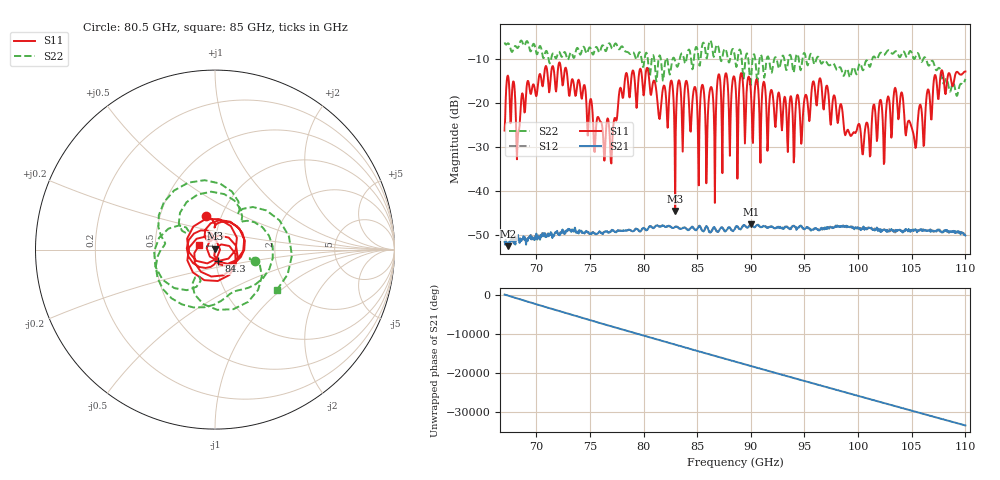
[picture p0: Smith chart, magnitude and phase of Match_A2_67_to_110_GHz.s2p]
#  HZ  S  MA  R  50.00
! Rohde & Schwarz ZVA67 4Ports - Version 4.11 - 1305.7002k04 SN: 101051
! Date: 2023-09-13 16:04:21
! Measurements: S11 S21 S12 S22
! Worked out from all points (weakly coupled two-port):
!   860 points, 67.05 GHz to 110 GHz, reference 50 ohm
!   highest |S21| = -47.51 dB at 90 GHz (marker M1); lowest = -52.5 dB at 67.4 GHz (marker M2)
!   lowest |S11| = -44.5 dB at 82.95 GHz (marker M3), VSWR 1.01, Z = 50.1 + j0.589 ohm
!   |S11| at or under -10 dB: start of sweep to end of sweep
!   |S22| runs from -18.4 to -5.9 dB; largest |S21 - S12| = 0.00076
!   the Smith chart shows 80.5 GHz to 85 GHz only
!   S11 on the Smith chart (normalised r, x): 80.5 GHz: 0.84, +0.33; 84.3 GHz: 1.03, -0.13; 85 GHz: 0.84, +0.04
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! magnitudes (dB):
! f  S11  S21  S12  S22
! 67.05 GHz  -26.3  -51.5  -52.2  -6.3
! 67.4 GHz  -14.2  -52.5  -52.0  -6.5
! 68.3 GHz  -27.1  -50.0  -51.1  -7.5
! 70.85 GHz  -11.9  -50.4  -50.4  -8.5
! 74.25 GHz  -19.1  -49.4  -49.3  -8.1
! 77 GHz  -33.7  -49.0  -49.0  -7.4
! 78.35 GHz  -13.4  -48.9  -48.9  -8.4
! 80.5 GHz  -14.1  -48.1  -48.2  -12.8
! 81.4 GHz  -22.5  -47.9  -47.9  -10.1
! 82.6 GHz  -14.9  -48.2  -48.2  -11.5
! 82.95 GHz  -44.5  -48.2  -48.0  -10.5
! 83.3 GHz  -14.9  -48.5  -48.4  -10.8
! 84.3 GHz  -23.6  -48.6  -48.6  -8.2
! 85 GHz  -20.8  -48.5  -48.5  -7.7
! 88.55 GHz  -15.4  -48.4  -48.4  -10.4
! 90 GHz  -17.3  -47.5  -47.6  -15.9
! 95.7 GHz  -16.4  -48.7  -48.9  -9.2
! 100.5 GHz  -31.7  -48.6  -48.3  -12.6
! 102.8 GHz  -18.8  -49.2  -49.1  -8.1
! 105.3 GHz  -29.4  -48.7  -48.9  -9.9
! 107.2 GHz  -13.7  -49.1  -49.1  -11.8
! 110 GHz  -12.9  -50.0  -49.8  -14.6
